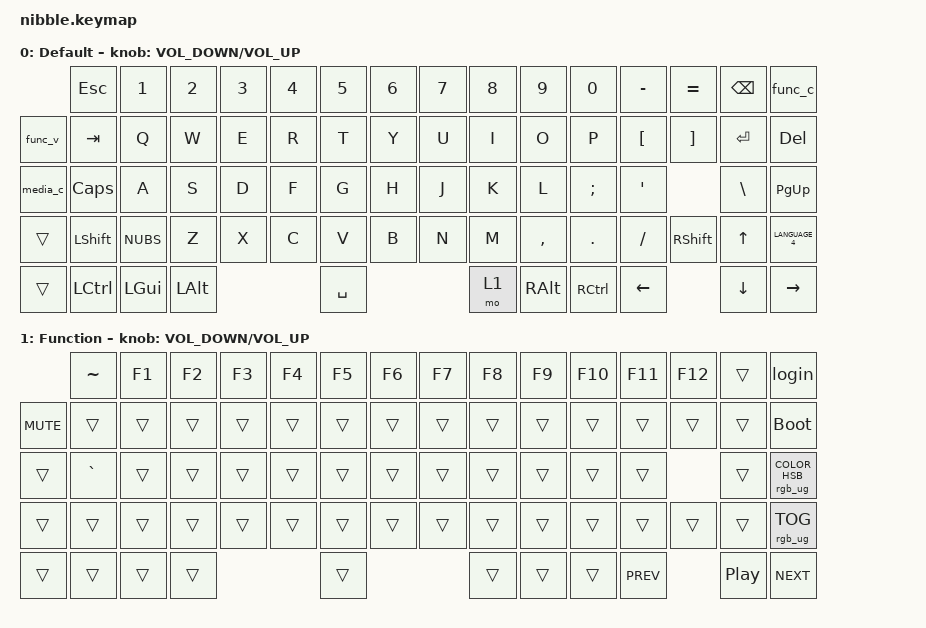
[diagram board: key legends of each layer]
/*
 * Copyright (c) 2020 The ZMK Contributors
 *
 * SPDX-License-Identifier: MIT
 */

#include <behaviors.dtsi>
#include <dt-bindings/zmk/keys.h>
#include <dt-bindings/zmk/bt.h>
#include <dt-bindings/zmk/rgb.h>


&led_strip {
    chain-length = <10>;
};


/ {
    behaviors {
        media_c: tap_dance_media {
            compatible = "zmk,behavior-tap-dance";
            #binding-cells = <0>;
            bindings = <&kp C_PP>, <&kp C_NEXT>;
            tapping-term-ms = <300>;
        };

        func_c: tap_dance_func {
            compatible = "zmk,behavior-tap-dance";
            #binding-cells = <0>;
            bindings = <&kp C_AL_CALCULATOR>, <&login>;
            tapping-term-ms = <300>;
        };

        func_v: tap_dance_vol {
            compatible = "zmk,behavior-tap-dance";
            #binding-cells = <0>;
            bindings = <&kp C_MUTE>, <&vol_up>;
            tapping-term-ms = <500>;
        };
    };
};

/ {
    macros {
        login: zed_em_kay {
            compatible = "zmk,behavior-macro";
            #binding-cells = <0>;
            wait-ms = <300>;
            bindings
                = <&macro_tap &kp RET>
                , <&macro_wait_time 50>
                , <&macro_tap &kp N2 &kp N0 &kp N2 &kp N1 &kp RET>
                ;
        };

        vol_up: volup {
            compatible = "zmk,behavior-macro";
            #binding-cells = <0>;
            wait-ms = <10>;
            bindings
                = <&macro_tap &kp C_VOLUME_UP &kp C_VOLUME_UP &kp C_VOLUME_UP &kp C_VOLUME_UP &kp C_VOLUME_UP &kp C_VOLUME_UP &kp C_VOLUME_UP &kp C_VOLUME_UP &kp C_VOLUME_UP &kp C_VOLUME_UP &kp C_VOLUME_UP &kp C_VOLUME_UP &kp C_VOLUME_UP &kp C_VOLUME_UP &kp C_VOLUME_UP &kp C_VOLUME_UP &kp C_VOLUME_UP &kp C_VOLUME_UP &kp C_VOLUME_UP &kp C_VOLUME_UP &kp C_VOLUME_UP &kp C_VOLUME_UP &kp C_VOLUME_UP &kp C_VOLUME_UP &kp C_VOLUME_UP &kp C_VOLUME_UP &kp C_VOLUME_UP &kp C_VOLUME_UP &kp C_VOLUME_UP &kp C_VOLUME_UP &kp C_VOLUME_UP &kp C_VOLUME_UP &kp C_VOLUME_UP &kp C_VOLUME_UP &kp C_VOLUME_UP &kp C_VOLUME_UP>
                ;
        };
    };
};


/ {
    sensors: sensors {
        compatible = "zmk,keymap-sensors";
        sensors = <&encoder_1>;
        triggers-per-rotation = <40>;
    };

    keymap {
        compatible = "zmk,keymap";

        default_layer {
            display-name = "Default";

            sensor-bindings = <&inc_dec_kp C_VOLUME_DOWN C_VOLUME_UP>;

            bindings = <
            &kp ESC   &kp N1    &kp N2    &kp N3    &kp N4    &kp N5    &kp N6    &kp N7    &kp N8  &kp N9    &kp N0    &kp MINUS &kp EQUAL &kp BSPC &func_c
&func_v     &kp TAB   &kp Q     &kp W     &kp E     &kp R     &kp T     &kp Y     &kp U     &kp I   &kp O     &kp P     &kp LBKT  &kp RBKT  &kp RET  &kp DEL
&media_c    &kp CLCK  &kp A     &kp S     &kp D     &kp F     &kp G     &kp H     &kp J     &kp K   &kp L     &kp SEMI  &kp SQT             &kp BSLH &kp PG_UP
&trans      &kp LSHFT &kp NUBS  &kp Z     &kp X     &kp C     &kp V     &kp B     &kp N     &kp M   &kp COMMA &kp DOT   &kp FSLH  &kp RSHFT &kp UP   &kp LANGUAGE_4
&trans      &kp LCTRL &kp LGUI  &kp LALT                      &kp SPACE                     &mo 1   &kp RALT  &kp RCTRL &kp LEFT            &kp DOWN &kp RIGHT
            >;
        };
        function_layer {
            display-name = "Function";

            sensor-bindings = <&inc_dec_kp C_VOLUME_DOWN C_VOLUME_UP>;

            bindings = <
            &kp TILDE &kp F1    &kp F2    &kp F3    &kp F4    &kp F5    &kp F6    &kp F7    &kp F8  &kp F9    &kp F10   &kp F11   &kp F12   &trans   &login
&kp C_MUTE  &trans    &trans    &trans    &trans    &trans    &trans    &trans    &trans    &trans  &trans    &trans    &trans    &trans    &trans   &bootloader
&trans      &kp GRAVE    &trans    &trans    &trans    &trans    &trans    &trans    &trans    &trans  &trans    &trans    &trans              &trans   &rgb_ug RGB_COLOR_HSB(304,83,100)
&trans      &trans    &trans    &trans    &trans    &trans    &trans    &trans    &trans    &trans  &trans    &trans    &trans    &trans    &trans   &rgb_ug RGB_TOG
&trans      &trans    &trans    &trans                        &trans                        &trans  &trans    &trans    &kp C_PREV          &kp C_PP &kp C_NEXT
            >;
        };
    };
};
